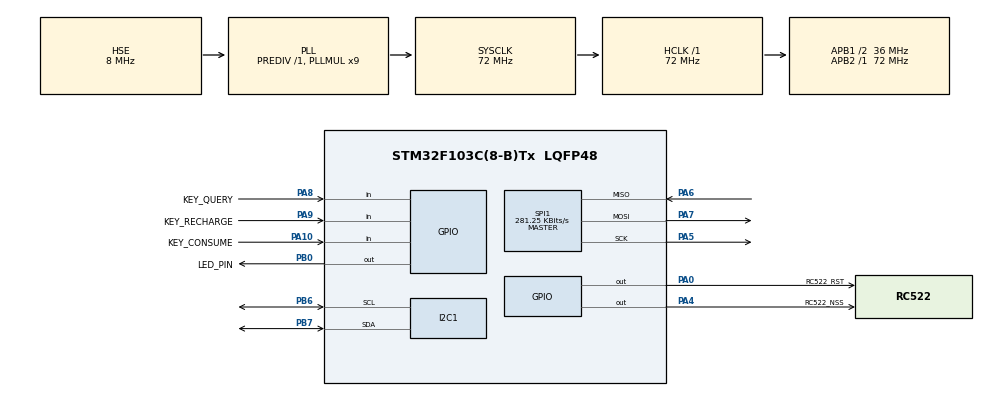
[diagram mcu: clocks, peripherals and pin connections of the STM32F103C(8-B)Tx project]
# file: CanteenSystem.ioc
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Mcu.Family=STM32F1
Mcu.Name=STM32F103C(8-B)Tx
Mcu.Package=LQFP48
NVIC.PriorityGroup=NVIC_PRIORITYGROUP_4
PA0-WKUP.GPIO_Label=RC522_RST
PA0-WKUP.Signal=GPIO_Output
PA10.GPIO_Label=KEY_CONSUME
PA10.GPIO_PuPd=GPIO_PULLUP
PA10.Signal=GPIO_Input
PA13.Mode=Serial_Wire
PA13.Signal=SYS_JTMS-SWDIO
PA14.Mode=Serial_Wire
PA14.Signal=SYS_JTCK-SWCLK
PA4.GPIO_Label=RC522_NSS
PA4.PinState=GPIO_PIN_SET
PA4.Signal=GPIO_Output
PA5.Mode=Full_Duplex_Master
PA5.Signal=SPI1_SCK
PA6.Mode=Full_Duplex_Master
PA6.Signal=SPI1_MISO
PA7.Mode=Full_Duplex_Master
PA7.Signal=SPI1_MOSI
PA8.GPIO_Label=KEY_QUERY
PA8.GPIO_PuPd=GPIO_PULLUP
PA8.Signal=GPIO_Input
PA9.GPIO_Label=KEY_RECHARGE
PA9.GPIO_PuPd=GPIO_PULLUP
PA9.Signal=GPIO_Input
PB0.GPIO_Label=LED_PIN
PB0.Signal=GPIO_Output
PB6.Mode=I2C
PB6.Signal=I2C1_SCL
PB7.Mode=I2C
PB7.Signal=I2C1_SDA
PD0-OSC_IN.Mode=HSE-External-Oscillator
PD0-OSC_IN.Signal=RCC_OSC_IN
PD1-OSC_OUT.Mode=HSE-External-Oscillator
PD1-OSC_OUT.Signal=RCC_OSC_OUT
ProjectManager.HeapSize=0x400
ProjectManager.StackSize=0x800
ProjectManager.TargetToolchain=MDK-ARM V5.32
RCC.AHBFreq_Value=72000000
RCC.APB1CLKDivider=RCC_HCLK_DIV2
RCC.APB1Freq_Value=36000000
RCC.APB1TimFreq_Value=72000000
RCC.APB2Freq_Value=72000000
RCC.APB2TimFreq_Value=72000000
RCC.HCLKFreq_Value=72000000
RCC.PLLMUL=RCC_PLL_MUL9
RCC.PLLSourceVirtual=RCC_PLLSOURCE_HSE
RCC.SYSCLKFreq_VALUE=72000000
RCC.SYSCLKSource=RCC_SYSCLKSOURCE_PLLCLK
RCC.USBFreq_Value=72000000
SPI1.BaudRatePrescaler=SPI_BAUDRATEPRESCALER_256
SPI1.CalculateBaudRate=281.25 KBits/s
SPI1.Direction=SPI_DIRECTION_2LINES
SPI1.Mode=SPI_MODE_MASTER
SPI1.VirtualType=VM_MASTER
board=custom

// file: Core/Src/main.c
/* USER CODE BEGIN Header */
/**
  ******************************************************************************
  * @file           : main.c
  * @brief          : Main program body
  ******************************************************************************
  * @attention
  *
  * Copyright (c) 2025 STMicroelectronics.
  * All rights reserved.
  *
  * This software is licensed under terms that can be found in the LICENSE file
  * in the root directory of this software component.
  * If no LICENSE file comes with this software, it is provided AS-IS.
  *
  ******************************************************************************
  */
/* USER CODE END Header */
#include "main.h"
#include "i2c.h"
#include "spi.h"
#include "gpio.h"

/* USER CODE BEGIN Includes */
#include "rc522.h"
#include "oled.h"
#include "key.h"
#include "card.h"
#include <string.h>
#include <stdio.h>
/* USER CODE END Includes */

/* USER CODE BEGIN PTD */
// 系统状态枚举
typedef enum {
    STATE_WAIT_CARD = 0,      // 等待卡片
    STATE_CARD_DETECTED,      // 卡片已检测
    STATE_PROCESSING          // 处理中
} SystemState;
/* USER CODE END PTD */

/* USER CODE BEGIN PV */
uint8_t current_card_uid[5] = {0};
uint8_t card_detected = 0;
SystemState system_state = STATE_WAIT_CARD;
/* USER CODE END PV */

void SystemClock_Config(void);

int main(void)
{

  /* MCU Configuration--------------------------------------------------------*/

  /* Reset of all peripherals, Initializes the Flash interface and the Systick. */
  HAL_Init();

  /* Configure the system clock */
  SystemClock_Config();

  /* Initialize all configured peripherals */
  MX_GPIO_Init();
  MX_I2C1_Init();
  MX_SPI1_Init();

  /* USER CODE BEGIN 2 */
  // 初始化外设
  OLED_Init();
  RC522_Init();
  KEY_Init();
  CARD_Init();

  // 设置初始状态
	LED_OFF();
  //HAL_GPIO_WritePin(LED_PIN_GPIO_Port, LED_PIN_Pin, GPIO_PIN_RESET);  // LED灭
  HAL_GPIO_WritePin(RC522_NSS_GPIO_Port, RC522_NSS_Pin, GPIO_PIN_SET);   // NSS高
  HAL_GPIO_WritePin(RC522_RST_GPIO_Port, RC522_RST_Pin, GPIO_PIN_SET);   // RST高

  // 显示欢迎界面
  OLED_Clear();
  OLED_ShowString(0, 0, "Canteen System");
  OLED_ShowString(0, 2, "Place Card");
  OLED_ShowString(0, 4, "Ready...");
  OLED_Refresh();

  // 测试LED闪烁一次
  HAL_GPIO_WritePin(LED_PIN_GPIO_Port, LED_PIN_Pin, GPIO_PIN_RESET);
  HAL_Delay(200);
  HAL_GPIO_WritePin(LED_PIN_GPIO_Port, LED_PIN_Pin, GPIO_PIN_SET);
  /* USER CODE END 2 */

  /* Infinite loop */
  while (1)
  {

    /* USER CODE BEGIN 3 */
/* USER CODE BEGIN 3 */
/* USER CODE BEGIN 3 */
static uint8_t quick_action_mode = 0;
static uint32_t action_start_time = 0;

// 确保LED熄灭（除非正在充值）
HAL_GPIO_WritePin(LED_PIN_GPIO_Port, LED_PIN_Pin, GPIO_PIN_RESET);

if (quick_action_mode) {
    // 快速操作模式：放卡后立即按键
    if (HAL_GetTick() - action_start_time > 3000) {
        // 3秒超时
        quick_action_mode = 0;
        RC522_Halt();

        OLED_Clear();
        OLED_ShowString(0, 0, "Timeout");
        OLED_ShowString(0, 2, "Place Card Again");
        OLED_Refresh();
        HAL_Delay(1000);

        OLED_Clear();
        OLED_ShowString(0, 0, "Canteen System");
        OLED_ShowString(0, 2, "Place Card");
        OLED_ShowString(0, 4, "Ready...");
        OLED_Refresh();
    }

    // 处理按键
    Key_Type key = KEY_Scan();

    if (key != KEY_NONE) {
        switch (key) {
            case KEY_QUERY:
                CARD_GetBalance(current_card_uid);
                break;
            case KEY_RECHARGE:
                CARD_Recharge(current_card_uid, 1000);
                break;
            case KEY_CONSUME:
                CARD_Consume(current_card_uid, 500);
                break;
        }

        RC522_Halt();
        quick_action_mode = 0;

        HAL_Delay(2000);
        OLED_Clear();
        OLED_ShowString(0, 0, "Place Card");
        OLED_ShowString(0, 2, "Ready...");
        OLED_Refresh();
    }
} else {
    // 正常检测模式
    uint8_t tag_type[2];
    if (RC522_Request(PICC_REQIDL, tag_type) == MI_OK) {
        // 检测到卡片
        if (RC522_Anticoll(current_card_uid) == MI_OK) {
            RC522_SelectTag(current_card_uid);

            // 进入快速操作模式
            quick_action_mode = 1;
            action_start_time = HAL_GetTick();

            OLED_Clear();
            OLED_ShowString(0, 0, "Quick Action!");
            OLED_ShowString(0, 2, "Press Key NOW");
            OLED_ShowString(0, 4, "1 2 3");
            OLED_Refresh();
        }
    }
}

HAL_Delay(100);
/* USER CODE END 3 */
/* USER CODE END 3 */ // 主循环延时
    /* USER CODE END 3 */
  }
  /* USER CODE END 3 */
}

void SystemClock_Config(void)
{
  RCC_OscInitTypeDef RCC_OscInitStruct = {0};
  RCC_ClkInitTypeDef RCC_ClkInitStruct = {0};

  /** Initializes the RCC Oscillators according to the specified parameters
  * in the RCC_OscInitTypeDef structure.
  */
  RCC_OscInitStruct.OscillatorType = RCC_OSCILLATORTYPE_HSE;
  RCC_OscInitStruct.HSEState = RCC_HSE_ON;
  RCC_OscInitStruct.HSEPredivValue = RCC_HSE_PREDIV_DIV1;
  RCC_OscInitStruct.HSIState = RCC_HSI_ON;
  RCC_OscInitStruct.PLL.PLLState = RCC_PLL_ON;
  RCC_OscInitStruct.PLL.PLLSource = RCC_PLLSOURCE_HSE;
  RCC_OscInitStruct.PLL.PLLMUL = RCC_PLL_MUL9;
  if (HAL_RCC_OscConfig(&RCC_OscInitStruct) != HAL_OK)
  {
    Error_Handler();
  }

  /** Initializes the CPU, AHB and APB buses clocks
  */
  RCC_ClkInitStruct.ClockType = RCC_CLOCKTYPE_HCLK|RCC_CLOCKTYPE_SYSCLK
                              |RCC_CLOCKTYPE_PCLK1|RCC_CLOCKTYPE_PCLK2;
  RCC_ClkInitStruct.SYSCLKSource = RCC_SYSCLKSOURCE_PLLCLK;
  RCC_ClkInitStruct.AHBCLKDivider = RCC_SYSCLK_DIV1;
  RCC_ClkInitStruct.APB1CLKDivider = RCC_HCLK_DIV2;
  RCC_ClkInitStruct.APB2CLKDivider = RCC_HCLK_DIV1;

  if (HAL_RCC_ClockConfig(&RCC_ClkInitStruct, FLASH_LATENCY_2) != HAL_OK)
  {
    Error_Handler();
  }
}

/* USER CODE BEGIN 4 */
// 可以在这里添加其他辅助函数
/* USER CODE END 4 */

void Error_Handler(void)
{
  /* USER CODE BEGIN Error_Handler_Debug */
  // LED快速闪烁表示错误
  __disable_irq();
  while (1) {
    HAL_GPIO_TogglePin(LED_PIN_GPIO_Port, LED_PIN_Pin);
    HAL_Delay(100);
  }
  /* USER CODE END Error_Handler_Debug */
}
